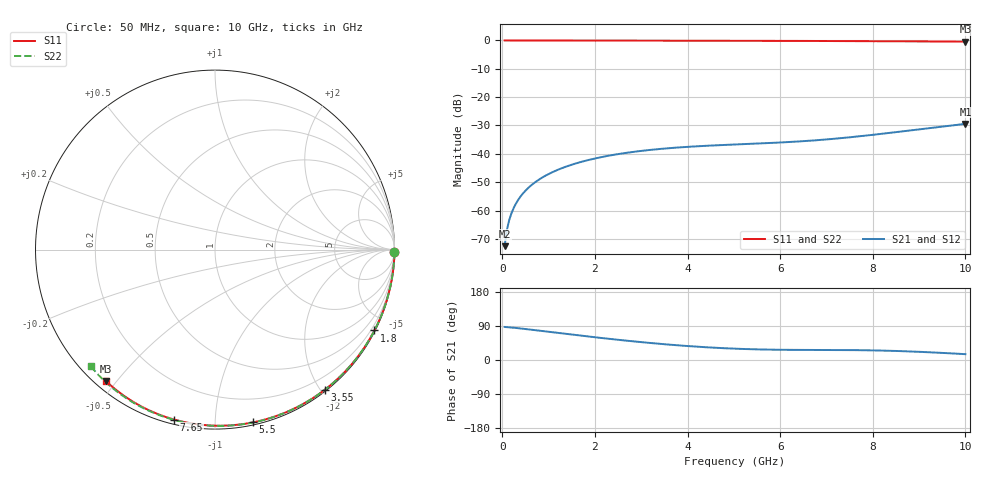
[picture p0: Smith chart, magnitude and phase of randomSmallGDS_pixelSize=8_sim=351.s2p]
! freq	dB(S11)	phase(S11)	dB(S12)	phase(S12)
!  dB(S21)	phase(S21)	dB(S22)	phase(S22)
!S-par simulation data
#  GHz  S  DB  R 50
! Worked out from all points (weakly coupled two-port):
!   200 points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, 50 MHz to 10 GHz, reference 50 ohm
!   highest |S21| = -29.43 dB at 10 GHz (marker M1); lowest = -72.6 dB at 50 MHz (marker M2)
!   lowest |S11| = -0.4 dB at 10 GHz (marker M3), VSWR 40.45, Z = 1.51 - j23.5 ohm
!   |S11| at or under -10 dB: nowhere
!   |S22| runs from -0.5 to 0.0 dB; largest |S21 - S12| = 0
!   S11 on the Smith chart (normalised r, x): 50 MHz: open; 1.8 GHz: 0.04, -4.18; 3.55 GHz: 0.02, -2.06; 5.5 GHz: 0.02, -1.24; 7.65 GHz: 0.02, -0.79; 10 GHz: 0.03, -0.47
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0.05  -0.00 -0.8  -72.59 87.2  -72.59 87.2  -0.00 -0.8
0.1  -0.00 -1.5  -66.78 86.6  -66.78 86.6  -0.00 -1.6
0.15  -0.00 -2.3  -63.34 86.2  -63.34 86.2  -0.00 -2.4
0.2  -0.00 -3.0  -60.88 85.7  -60.88 85.7  -0.00 -3.2
0.25  -0.00 -3.8  -58.97 85.1  -58.97 85.1  -0.00 -4.0
0.35  -0.00 -5.3  -56.08 83.9  -56.08 83.9  -0.00 -5.6
0.5  -0.01 -7.6  -53.01 81.8  -53.01 81.8  -0.01 -8.0
0.7  -0.01 -10.6  -50.14 78.9  -50.14 78.9  -0.01 -11.2
1  -0.02 -15.1  -47.13 74.4  -47.13 74.4  -0.02 -16.0
1.35  -0.03 -20.3  -44.68 69.3  -44.68 69.3  -0.03 -21.5
1.75  -0.03 -26.2  -42.64 63.5  -42.64 63.5  -0.03 -27.7
1.8  -0.03 -26.9  -42.43 62.8  -42.43 62.8  -0.04 -28.5
2.5  -0.05 -37.0  -40.10 53.3  -40.10 53.3  -0.05 -39.2
3.4  -0.07 -49.7  -38.29 42.7  -38.29 42.7  -0.07 -52.6
3.55  -0.07 -51.8  -38.08 41.1  -38.08 41.1  -0.07 -54.8
4.3  -0.09 -62.0  -37.25 34.4  -37.25 34.4  -0.09 -65.5
5.05  -0.11 -71.8  -36.69 29.8  -36.69 29.8  -0.11 -75.8
5.5  -0.13 -77.6  -36.39 28.0  -36.39 28.0  -0.13 -81.8
6.7  -0.18 -92.4  -35.31 26.5  -35.31 26.5  -0.18 -97.3
7.65  -0.23 -103.5  -33.92 26.0  -33.92 26.0  -0.24 -109.1
8.35  -0.28 -111.5  -32.64 24.4  -32.64 24.4  -0.29 -117.5
10  -0.43 -129.7  -29.43 15.4  -29.43 15.4  -0.45 -136.7
